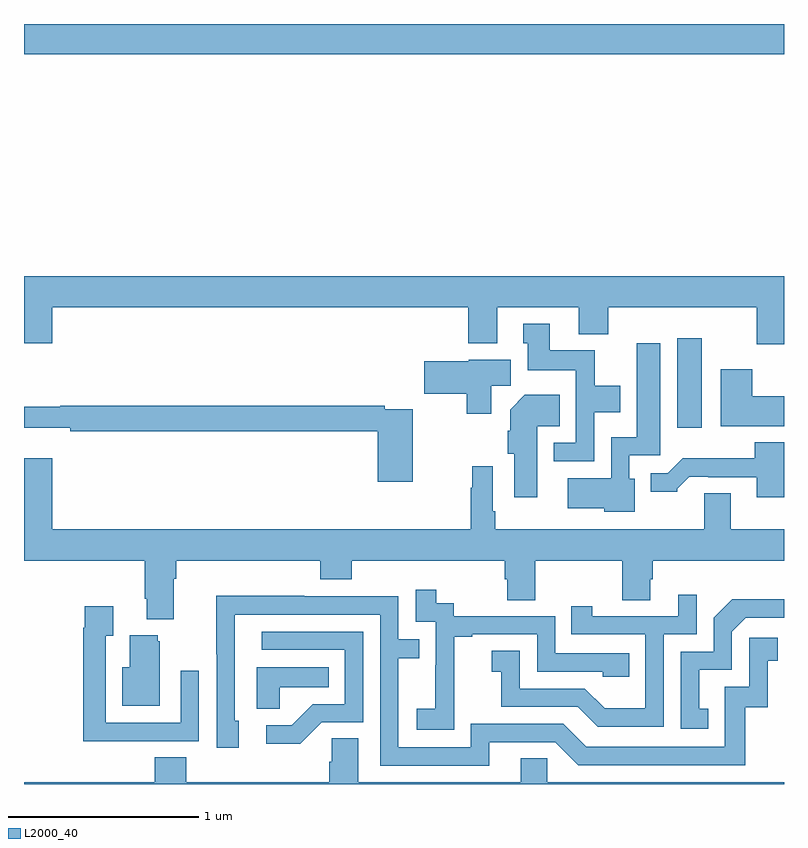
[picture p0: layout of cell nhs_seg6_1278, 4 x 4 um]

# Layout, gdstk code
import gdstk
lib = gdstk.Library(unit=1e-6, precision=1e-09)
def R(c, l, rs):  # rectangles x0, y0, x1, y1
    for r in rs: c.add(gdstk.rectangle(r[:2], r[2:], *l))
def P(c, l, *ps):  # polygons
    for p in ps: c.add(gdstk.Polygon(p, *l))
L2000_40 = (2000, 40)

nhs_seg6_1278 = lib.new_cell('nhs_seg6_1278')
R(nhs_seg6_1278, L2000_40, [(192.437,941.376,192.568,941.845), (189,943.34,193,943.5)])
P(nhs_seg6_1278, L2000_40, [(193,942.172),(189,942.172),(189,941.82),(189.148,941.82),(189.148,942.008),(191.339,942.008),(191.339,941.819),(191.491,941.819),(191.491,942.008),(191.921,942.008),(191.921,941.867),(192.074,941.867),(192.074,942.008),(192.857,942.008),(192.857,941.814),(193,941.814)],
  [(192,941.456),(192.139,941.456),(192.139,941.596),(192.003,941.596),(192.003,941.782),(191.767,941.782),(191.767,941.923),(191.627,941.923),(191.627,941.82),(191.651,941.82),(191.651,941.678),(191.904,941.678),(191.904,941.295),(191.787,941.295),(191.787,941.199),(192,941.199)],
  [(192.214,941.106),(192.186,941.106),(192.186,941.229),(192.349,941.229),(192.349,941.821),(192.224,941.821),(192.224,941.326),(192.09,941.326),(192.09,941.11),(191.862,941.11),(191.862,940.952),(192.054,940.952),(192.054,940.934),(192.214,940.934)],
  [(191.458,941.596),(191.563,941.596),(191.563,941.734),(191.34,941.734),(191.34,941.725),(191.106,941.725),(191.106,941.555),(191.329,941.555),(191.329,941.448),(191.458,941.448)],
  [(193,941.542),(192.832,941.542),(192.832,941.683),(192.668,941.683),(192.668,941.384),(193,941.384)],
  [(191.701,941.384),(191.819,941.384),(191.819,941.548),(191.636,941.548),(191.558,941.47),(191.558,941.36),(191.546,941.36),(191.546,941.238),(191.579,941.238),(191.579,941.01),(191.701,941.01)],
  [(191.045,941.472),(190.898,941.472),(190.898,941.492),(189.19,941.492),(189.19,941.485),(189,941.485),(189,941.375),(189.244,941.375),(189.244,941.356),(190.862,941.356),(190.862,941.091),(191.045,941.091)],
  [(193,941.299),(192.845,941.299),(192.845,941.215),(192.466,941.215),(192.387,941.136),(192.299,941.136),(192.299,941.039),(192.438,941.039),(192.438,941.054),(192.502,941.118),(192.601,941.118),(192.601,941.115),(192.857,941.115),(192.857,941.01),(193,941.01)],
  [(189.787,940.58),(189.8,940.58),(189.8,940.676),(190.559,940.676),(190.559,940.577),(190.724,940.577),(190.724,940.676),(191.531,940.676),(191.531,940.578),(191.543,940.578),(191.543,940.468),(191.691,940.468),(191.691,940.676),(192.148,940.676),(192.148,940.468),(192.295,940.468),(192.295,940.578),(192.308,940.578),(192.308,940.676),(193,940.676),(193,940.84),(192.721,940.84),(192.721,941.03),(192.581,941.03),(192.581,940.84),(191.479,940.84),(191.479,940.936),(191.466,940.936),(191.466,941.173),(191.358,941.173),(191.358,941.06),(191.35,941.06),(191.35,940.84),(189.148,940.84),(189.148,941.215),(189,941.215),(189,940.676),(189.635,940.676),(189.635,940.474),(189.647,940.474),(189.647,940.367),(189.787,940.367)],
  [(191.265,939.991),(191.264,939.991),(191.264,940.275),(191.359,940.275),(191.359,940.287),(191.7,940.287),(191.7,940.092),(192.045,940.092),(192.045,940.065),(192.185,940.065),(192.185,940.188),(191.796,940.188),(191.796,940.383),(191.262,940.383),(191.262,940.452),(191.17,940.452),(191.17,940.522),(191.061,940.522),(191.061,940.353),(191.166,940.353),(191.166,940.124),(191.165,940.124),(191.165,939.895),(191.067,939.895),(191.067,939.785),(191.265,939.785)],
  [(192.366,940.287),(192.54,940.287),(192.54,940.495),(192.443,940.495),(192.443,940.383),(191.992,940.383),(191.992,940.435),(191.881,940.435),(191.881,940.287),(192.27,940.287),(192.27,939.898),(192.056,939.898),(191.952,940.002),(191.61,940.002),(191.61,940.201),(191.463,940.201),(191.463,940.091),(191.512,940.091),(191.512,939.906),(191.915,939.906),(192.02,939.801),(192.366,939.801)],
  [(191.449,939.72),(191.796,939.72),(191.916,939.6),(192.796,939.6),(192.796,939.903),(192.914,939.903),(192.914,940.149),(192.967,940.149),(192.967,940.27),(192.816,940.27),(192.816,940.011),(192.687,940.011),(192.687,939.696),(191.958,939.696),(191.838,939.816),(191.352,939.816),(191.352,939.693),(190.971,939.693),(190.971,940.162),(191.081,940.162),(191.081,940.263),(190.971,940.263),(190.971,940.488),(190.475,940.488),(190.475,940.49),(190.012,940.49),(190.012,940.183),(190.014,940.183),(190.014,939.69),(190.129,939.69),(190.129,939.834),(190.11,939.834),(190.11,940.392),(190.875,940.392),(190.875,939.597),(191.449,939.597)],
  [(192.602,939.897),(192.553,939.897),(192.553,940.101),(192.726,940.101),(192.726,940.302),(192.798,940.374),(193,940.374),(193,940.472),(192.728,940.472),(192.63,940.374),(192.63,940.197),(192.456,940.197),(192.456,939.792),(192.602,939.792)],
  [(189.605,939.726),(189.921,939.726),(189.921,940.096),(189.825,940.096),(189.825,939.822),(189.429,939.822),(189.429,940.279),(189.469,940.279),(189.469,940.435),(189.321,940.435),(189.321,940.322),(189.313,940.322),(189.313,939.725),(189.605,939.725)],
  [(190.566,939.825),(190.785,939.825),(190.785,940.302),(190.251,940.302),(190.251,940.206),(190.689,940.206),(190.689,939.921),(190.52,939.921),(190.409,939.81),(190.275,939.81),(190.275,939.713),(190.453,939.713)],
  [(189.715,940.251),(189.704,940.251),(189.704,940.282),(189.557,940.282),(189.557,940.114),(189.518,940.114),(189.518,939.911),(189.715,939.911)],
  [(190.347,940.01),(190.604,940.01),(190.604,940.114),(190.226,940.114),(190.226,939.895),(190.347,939.895)],
  [(193,939.508),(191.754,939.508),(191.754,939.635),(191.615,939.635),(191.615,939.508),(190.759,939.508),(190.759,939.74),(190.62,939.74),(190.62,939.617),(190.607,939.617),(190.607,939.508),(189.854,939.508),(189.854,939.641),(189.689,939.641),(189.689,939.508),(189,939.508),(189,939.5),(193,939.5)])

lib.write_gds('nhs_seg6_1278.gds')
